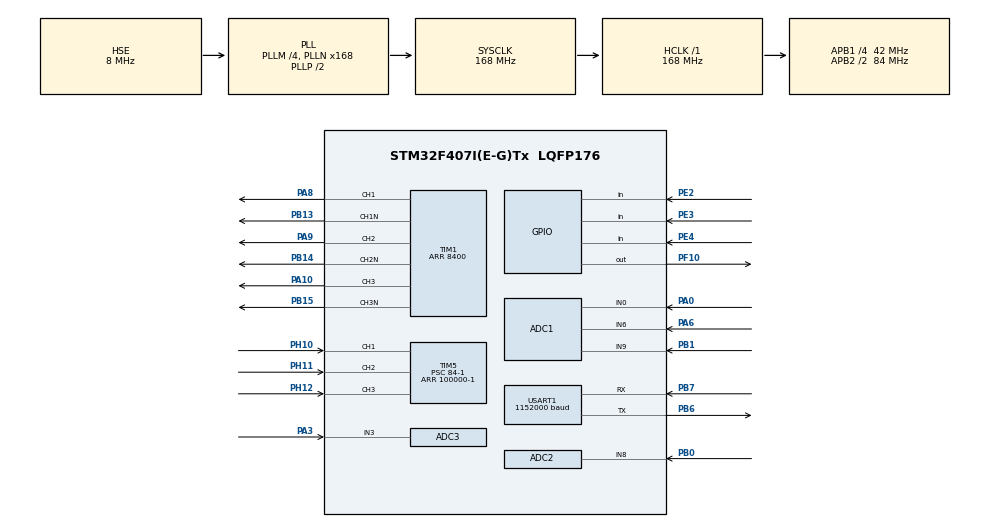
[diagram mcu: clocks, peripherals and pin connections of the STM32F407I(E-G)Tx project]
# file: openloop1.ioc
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ADC1.Channel-0\#ChannelRegularConversion=ADC_CHANNEL_0
ADC1.Channel-1\#ChannelInjectedConversion=ADC_CHANNEL_6
ADC1.Channel-2\#ChannelRegularConversion=ADC_CHANNEL_9
ADC1.ClockPrescaler=ADC_CLOCK_SYNC_PCLK_DIV6
ADC1.ContinuousConvMode=ENABLE
ADC1.DMAContinuousRequests=ENABLE
ADC1.ExternalTrigInjecConv=ADC_EXTERNALTRIGINJECCONV_T1_CC4
ADC1.InjNumberOfConversion=1
ADC1.InjectedOffset-1\#ChannelInjectedConversion=0
ADC1.InjectedRank-1\#ChannelInjectedConversion=1
ADC1.Mode=ADC_TRIPLEMODE_INJECSIMULT
ADC1.NbrOfConversion=2
ADC1.NbrOfConversionFlag=1
ADC1.Rank-0\#ChannelRegularConversion=1
ADC1.Rank-2\#ChannelRegularConversion=2
ADC1.SamplingTime-0\#ChannelRegularConversion=ADC_SAMPLETIME_84CYCLES
ADC1.SamplingTime-1\#ChannelInjectedConversion=ADC_SAMPLETIME_3CYCLES
ADC1.SamplingTime-2\#ChannelRegularConversion=ADC_SAMPLETIME_84CYCLES
ADC1.ScanConvMode=ENABLE
ADC1.master=1
ADC2.Channel-0\#ChannelRegularConversion=ADC_CHANNEL_8
ADC2.Channel-1\#ChannelInjectedConversion=ADC_CHANNEL_8
ADC2.ClockPrescaler=ADC_CLOCK_SYNC_PCLK_DIV6
ADC2.InjNumberOfConversion=1
ADC2.InjectedOffset-1\#ChannelInjectedConversion=0
ADC2.InjectedRank-1\#ChannelInjectedConversion=1
ADC2.Mode=ADC_TRIPLEMODE_INJECSIMULT
ADC2.NbrOfConversionFlag=1
ADC2.Rank-0\#ChannelRegularConversion=1
ADC2.SamplingTime-0\#ChannelRegularConversion=ADC_SAMPLETIME_3CYCLES
ADC2.SamplingTime-1\#ChannelInjectedConversion=ADC_SAMPLETIME_3CYCLES
ADC2.ScanConvMode=ENABLE
ADC3.Channel-0\#ChannelRegularConversion=ADC_CHANNEL_3
ADC3.Channel-1\#ChannelInjectedConversion=ADC_CHANNEL_3
ADC3.ClockPrescaler=ADC_CLOCK_SYNC_PCLK_DIV6
ADC3.InjNumberOfConversion=1
ADC3.InjectedOffset-1\#ChannelInjectedConversion=0
ADC3.InjectedRank-1\#ChannelInjectedConversion=1
ADC3.Mode=ADC_TRIPLEMODE_INJECSIMULT
ADC3.NbrOfConversionFlag=1
ADC3.Rank-0\#ChannelRegularConversion=1
ADC3.SamplingTime-0\#ChannelRegularConversion=ADC_SAMPLETIME_3CYCLES
ADC3.SamplingTime-1\#ChannelInjectedConversion=ADC_SAMPLETIME_3CYCLES
ADC3.ScanConvMode=ENABLE
Dma.ADC1.0.Direction=DMA_PERIPH_TO_MEMORY
Dma.ADC1.0.FIFOMode=DMA_FIFOMODE_DISABLE
Dma.ADC1.0.Instance=DMA2_Stream0
Dma.ADC1.0.MemDataAlignment=DMA_MDATAALIGN_HALFWORD
Dma.ADC1.0.MemInc=DMA_MINC_ENABLE
Dma.ADC1.0.Mode=DMA_CIRCULAR
Dma.ADC1.0.PeriphDataAlignment=DMA_PDATAALIGN_HALFWORD
Dma.ADC1.0.PeriphInc=DMA_PINC_DISABLE
Dma.ADC1.0.Priority=DMA_PRIORITY_LOW
Dma.Request0=ADC1
Mcu.Family=STM32F4
Mcu.Name=STM32F407I(E-G)Tx
Mcu.Package=LQFP176
NVIC.ADC_IRQn=true\:1\:0\:true\:false\:true\:true\:true\:true
NVIC.DMA2_Stream0_IRQn=true\:2\:0\:true\:false\:true\:false\:true\:true
NVIC.PriorityGroup=NVIC_PRIORITYGROUP_4
NVIC.TIM5_IRQn=true\:2\:0\:true\:false\:true\:true\:true\:true
PA0-WKUP.Signal=ADCx_IN0
PA10.Signal=S_TIM1_CH3
PA3.Signal=ADCx_IN3
PA6.Signal=ADCx_IN6
PA8.Signal=S_TIM1_CH1
PA9.Signal=S_TIM1_CH2
PB0.Signal=ADCx_IN8
PB1.Signal=ADCx_IN9
PB13.Mode=PWM Generation1 CH1 CH1N
PB13.Signal=TIM1_CH1N
PB14.Mode=PWM Generation2 CH2 CH2N
PB14.Signal=TIM1_CH2N
PB15.Mode=PWM Generation3 CH3 CH3N
PB15.Signal=TIM1_CH3N
PB6.Mode=Asynchronous
PB6.Signal=USART1_TX
PB7.Mode=Asynchronous
PB7.Signal=USART1_RX
PE2.GPIO_PuPd=GPIO_PULLUP
PE2.Signal=GPIO_Input
PE3.GPIO_PuPd=GPIO_PULLUP
PE3.Signal=GPIO_Input
PE4.GPIO_PuPd=GPIO_PULLUP
PE4.Signal=GPIO_Input
PF10.PinState=GPIO_PIN_RESET
PF10.Signal=GPIO_Output
PH0-OSC_IN.Mode=HSE-External-Oscillator
PH0-OSC_IN.Signal=RCC_OSC_IN
PH1-OSC_OUT.Mode=HSE-External-Oscillator
PH1-OSC_OUT.Signal=RCC_OSC_OUT
PH10.Signal=S_TIM5_CH1
PH11.Signal=S_TIM5_CH2
PH12.Signal=S_TIM5_CH3
ProjectManager.HeapSize=0x200
ProjectManager.StackSize=0x400
ProjectManager.TargetToolchain=MDK-ARM V5.32
RCC.48MHZClocksFreq_Value=84000000
RCC.AHBFreq_Value=168000000
RCC.APB1CLKDivider=RCC_HCLK_DIV4
RCC.APB1Freq_Value=42000000
RCC.APB1TimFreq_Value=84000000
RCC.APB2CLKDivider=RCC_HCLK_DIV2
RCC.APB2Freq_Value=84000000
RCC.APB2TimFreq_Value=168000000
RCC.CortexFreq_Value=168000000
RCC.HCLKFreq_Value=168000000
RCC.HSE_VALUE=8000000
RCC.HSI_VALUE=16000000
RCC.LSE_VALUE=32768
RCC.PLLM=4
RCC.PLLN=168
RCC.PLLSourceVirtual=RCC_PLLSOURCE_HSE
RCC.SYSCLKFreq_VALUE=168000000
RCC.SYSCLKSource=RCC_SYSCLKSOURCE_PLLCLK
RCC.VCOOutputFreq_Value=336000000
SH.ADCx_IN0.0=ADC1_IN0,IN0
SH.ADCx_IN3.0=ADC3_IN3,IN3
SH.ADCx_IN6.0=ADC1_IN6,IN6
SH.ADCx_IN8.0=ADC2_IN8,IN8
SH.ADCx_IN9.0=ADC1_IN9,IN9
SH.S_TIM1_CH1.0=TIM1_CH1,PWM Generation1 CH1 CH1N
SH.S_TIM1_CH2.0=TIM1_CH2,PWM Generation2 CH2 CH2N
SH.S_TIM1_CH3.0=TIM1_CH3,PWM Generation3 CH3 CH3N
SH.S_TIM5_CH1.0=TIM5_CH1,Xored_Inputs_Hall_Sensor_Interface
SH.S_TIM5_CH2.0=TIM5_CH2,Xored_Inputs_Hall_Sensor_Interface
SH.S_TIM5_CH3.0=TIM5_CH3,Xored_Inputs_Hall_Sensor_Interface
TIM1.Channel-PWM\ Generation1\ CH1\ CH1N=TIM_CHANNEL_1
TIM1.Channel-PWM\ Generation2\ CH2\ CH2N=TIM_CHANNEL_2
TIM1.Channel-PWM\ Generation3\ CH3\ CH3N=TIM_CHANNEL_3
TIM1.Channel-PWM\ Generation4\ No\ Output=TIM_CHANNEL_4
TIM1.CounterMode=TIM_COUNTERMODE_CENTERALIGNED1
TIM1.DeadTime=100
TIM1.Period=8400
TIM1.Pulse-PWM\ Generation4\ No\ Output=8390
TIM5.Period=100000-1
TIM5.Prescaler=84-1
USART1.BaudRate=1152000
USART1.VirtualMode=VM_ASYNC
VP_TIM1_VS_no_output4.Mode=PWM Generation4 No Output
board=custom

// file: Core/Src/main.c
/* USER CODE BEGIN Header */
/**
  ******************************************************************************
  * @file           : main.c
  * @brief          : Main program body
  ******************************************************************************
  * @attention
  *
  * Copyright (c) 2026 STMicroelectronics.
  * All rights reserved.
  *
  * This software is licensed under terms that can be found in the LICENSE file
  * in the root directory of this software component.
  * If no LICENSE file comes with this software, it is provided AS-IS.
  *
  ******************************************************************************
  */
/* USER CODE END Header */
#include "main.h"
#include "adc.h"
#include "dma.h"
#include "tim.h"
#include "usart.h"
#include "gpio.h"

/* USER CODE BEGIN Includes */
#include "key.h"
/* USER CODE END Includes */

/* USER CODE BEGIN PV */

uint16_t ADC_DMABuff[2];

/* USER CODE END PV */

void SystemClock_Config(void);

int main(void)
{

  /* USER CODE BEGIN 1 */
    uint8_t key;

  /* USER CODE END 1 */

  /* MCU Configuration--------------------------------------------------------*/

  /* Reset of all peripherals, Initializes the Flash interface and the Systick. */
  HAL_Init();

  /* Configure the system clock */
  SystemClock_Config();

  /* Initialize all configured peripherals */
  MX_GPIO_Init();
  MX_DMA_Init();
  MX_TIM1_Init();
  MX_ADC1_Init();
  MX_ADC2_Init();
  MX_ADC3_Init();
  MX_USART1_UART_Init();
  MX_TIM5_Init();
  /* USER CODE BEGIN 2 */
    Motor_Init();
  /* USER CODE END 2 */

  /* Infinite loop */
  /* USER CODE BEGIN WHILE */
  while (1)
  {
        printf("%f, %f\n", Hall.speed_ref, Hall.speed_filter);
        key = key_scan(0);
        if(key == KEY0_PRES)
        {
            pmsm.State = STATE_RUN;
            pmsm.dir = CCW;
            pmsm.State = STATE_PRE_ALIGN;
            pmsm.cycle_count = 0;
            HAL_GPIO_WritePin(GPIOF, GPIO_PIN_10, GPIO_PIN_SET);
        }
        else if(key == KEY1_PRES)
        {
            pmsm.State = STATE_RUN;
            pmsm.dir = CW;
            pmsm.State = STATE_PRE_ALIGN;
            pmsm.cycle_count = 0;
            HAL_GPIO_WritePin(GPIOF, GPIO_PIN_10, GPIO_PIN_SET);
//            Hall.speed_ref += 20;
        }
        else if(key == KEY2_PRES)
        {
//            rtX.Iq_ref -= 0.5F;
//            Hall.speed_ref -= 20;
        }

    /* USER CODE END WHILE */

  }
}

void SystemClock_Config(void)
{
  RCC_OscInitTypeDef RCC_OscInitStruct = {0};
  RCC_ClkInitTypeDef RCC_ClkInitStruct = {0};

  /** Configure the main internal regulator output voltage
  */
  __HAL_RCC_PWR_CLK_ENABLE();
  __HAL_PWR_VOLTAGESCALING_CONFIG(PWR_REGULATOR_VOLTAGE_SCALE1);

  /** Initializes the RCC Oscillators according to the specified parameters
  * in the RCC_OscInitTypeDef structure.
  */
  RCC_OscInitStruct.OscillatorType = RCC_OSCILLATORTYPE_HSE;
  RCC_OscInitStruct.HSEState = RCC_HSE_ON;
  RCC_OscInitStruct.PLL.PLLState = RCC_PLL_ON;
  RCC_OscInitStruct.PLL.PLLSource = RCC_PLLSOURCE_HSE;
  RCC_OscInitStruct.PLL.PLLM = 4;
  RCC_OscInitStruct.PLL.PLLN = 168;
  RCC_OscInitStruct.PLL.PLLP = RCC_PLLP_DIV2;
  RCC_OscInitStruct.PLL.PLLQ = 4;
  if (HAL_RCC_OscConfig(&RCC_OscInitStruct) != HAL_OK)
  {
    Error_Handler();
  }

  /** Initializes the CPU, AHB and APB buses clocks
  */
  RCC_ClkInitStruct.ClockType = RCC_CLOCKTYPE_HCLK|RCC_CLOCKTYPE_SYSCLK
                              |RCC_CLOCKTYPE_PCLK1|RCC_CLOCKTYPE_PCLK2;
  RCC_ClkInitStruct.SYSCLKSource = RCC_SYSCLKSOURCE_PLLCLK;
  RCC_ClkInitStruct.AHBCLKDivider = RCC_SYSCLK_DIV1;
  RCC_ClkInitStruct.APB1CLKDivider = RCC_HCLK_DIV4;
  RCC_ClkInitStruct.APB2CLKDivider = RCC_HCLK_DIV2;

  if (HAL_RCC_ClockConfig(&RCC_ClkInitStruct, FLASH_LATENCY_5) != HAL_OK)
  {
    Error_Handler();
  }
}

void Error_Handler(void)
{
  __disable_irq();
  while (1)
  {
  }
}
